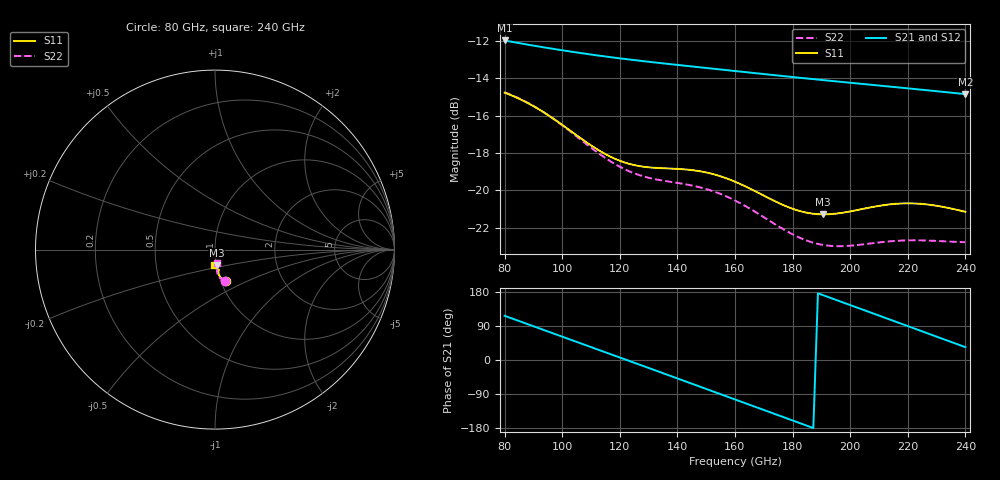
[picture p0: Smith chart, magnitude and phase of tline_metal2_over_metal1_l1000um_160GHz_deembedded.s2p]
! Created with skrf 2.0.1 (http://scikit-rf.org).
# GHz S DB R 50.0
!freq dBS11 angS11 dBS21 angS21 dBS12 angS12 dBS22 angS22
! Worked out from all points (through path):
!   101 points, 80 GHz to 240 GHz, reference 50 ohm
!   highest |S21| = -11.97 dB at 80 GHz (marker M1); lowest = -14.8 dB at 240 GHz (marker M2)
!   group delay of S21, straight-line fit = 7.69 ps
!   lowest |S11| = -21.3 dB at 190.4 GHz (marker M3), VSWR 1.19, Z = 50.2 - j8.67 ohm
!   |S11| at or under -10 dB: start of sweep to end of sweep
!   |S22| runs from -23.0 to -14.7 dB; largest |S21 - S12| = 2.1e-13
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80  -14.77 -70.9  -11.97 116.6  -11.97 116.6  -14.75 -71.8
86.4  -15.19 -74.2  -12.15 99.0  -12.15 99.0  -15.18 -75.3
92.8  -15.75 -77.3  -12.32 81.4  -12.32 81.4  -15.74 -78.9
99.2  -16.41 -79.8  -12.48 63.8  -12.48 63.8  -16.42 -81.9
107.2  -17.29 -81.4  -12.66 41.8  -12.66 41.8  -17.38 -84.2
113.6  -17.94 -81.3  -12.80 24.2  -12.80 24.2  -18.12 -84.7
120  -18.42 -80.4  -12.93 6.5  -12.93 6.5  -18.74 -84.3
126.4  -18.69 -79.4  -13.05 -11.1  -13.05 -11.1  -19.16 -83.4
134.4  -18.81 -79.1  -13.19 -33.2  -13.19 -33.2  -19.46 -82.9
147.2  -18.96 -81.8  -13.40 -68.6  -13.40 -68.6  -19.81 -84.9
153.6  -19.18 -84.0  -13.50 -86.4  -13.50 -86.4  -20.11 -86.8
160  -19.54 -86.0  -13.61 -104.1  -13.61 -104.1  -20.54 -88.7
166.4  -20.00 -87.4  -13.71 -121.9  -13.71 -121.9  -21.09 -90.0
174.4  -20.62 -87.6  -13.84 -144.0  -13.84 -144.0  -21.86 -90.0
180.8  -21.03 -86.4  -13.94 -161.8  -13.94 -161.8  -22.42 -88.6
187.2  -21.25 -84.6  -14.04 -179.5  -14.04 -179.5  -22.80 -86.3
190.4  -21.28 -83.7  -14.09 171.6  -14.09 171.6  -22.92 -85.0
203.2  -21.03 -82.1  -14.29 136.1  -14.29 136.1  -22.92 -81.0
214.4  -20.74 -84.1  -14.45 105.0  -14.45 105.0  -22.72 -80.5
220.8  -20.70 -86.2  -14.55 87.2  -14.55 87.2  -22.68 -80.9
227.2  -20.76 -88.4  -14.65 69.4  -14.65 69.4  -22.69 -81.4
240  -21.15 -91.8  -14.85 33.8  -14.85 33.8  -22.77 -81.9
